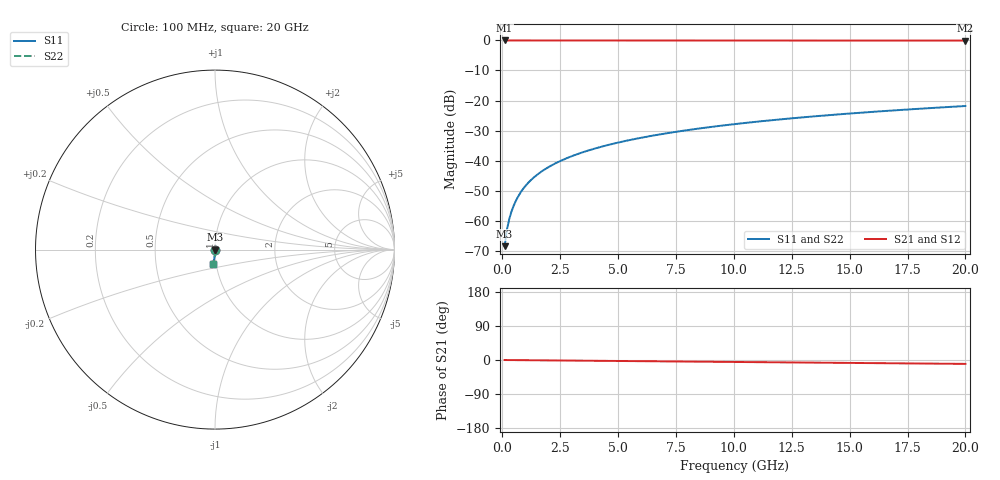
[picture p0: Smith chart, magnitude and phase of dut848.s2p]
! Touchstone file exported from HFSS 2026.1.0
!  File:  C:/ffzhzh/LocalFiles/Ansys_Project_Files/temp_train_TSV_848_1783185079_55132.aedt
!  Generated:  01:12:48 AM Jul  5, 2026
!  Design:  TSV
!  Project:  temp_train_TSV_848_1783185079_55132
! Variables:
!  h_bsmrdl = 2um
!  h_ox = 20um
!  h_rdl = 5um
!  h_sub = 99.63um
!  h_tmrdl = 5um
!  h_tsv = 99.63um
!  h_via = 3um
!  l_bsmrdl = 300um
!  l_sub = 420.48um
!  l_tmrdl = 200um
!  m_sub = 200um
!  pitch = 27.89um
!  r_tsv = 10.24um
!  s_tmrdl = 10um
!  w_bsmrdl = 18um
!  w_sub = 500um
!  w_tmrdl = 12um
!  x_tsv_center1 = 206um
!  x_tsv_center2 = 524um
!  x_tsv_center3 = 736um
!  x_tsv_center4 = 1054um
!  x_tsv_center5 = 1266um
!  x_tsv_center6 = 1584um
# GHz S MA R 50.000000
! Terminal data exported
! Port[1] = TSV1_1_T1
! Port[2] = TSV1_1_T2
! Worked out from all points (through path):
!   200 points, 100 MHz to 20 GHz, reference 50 ohm
!   highest |S21| = 0.00 dB at 100 MHz (marker M1); lowest = 0.0 dB at 20 GHz (marker M2)
!   group delay of S21, straight-line fit = 1.42 ps
!   lowest |S11| = -68.5 dB at 100 MHz (marker M3), VSWR 1.00, Z = 50 - j0.034 ohm
!   |S11| at or under -10 dB: start of sweep to end of sweep
!   |S22| runs from -68.5 to -21.8 dB; largest |S21 - S12| = 4.1e-15
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0.1  0.0003762 -64.6  0.9998 -0.1  0.9998 -0.1  0.0003762 -64.6
! Gamma 0 0 0 0
! Port Impedance 50 0 50 0
0.2  0.0007095 -75.1  0.9998 -0.1  0.9998 -0.1  0.0007095 -75.1
0.3  0.001063 -78.4  0.9998 -0.2  0.9998 -0.2  0.001063 -78.4
0.4  0.00143 -80.0  0.9997 -0.2  0.9997 -0.2  0.00143 -80.0
0.5  0.001809 -81.0  0.9997 -0.3  0.9997 -0.3  0.001809 -81.0
0.7  0.002588 -82.3  0.9996 -0.4  0.9996 -0.4  0.002588 -82.3
0.8  0.002985 -82.9  0.9996 -0.4  0.9996 -0.4  0.002985 -82.9
1  0.003786 -83.8  0.9995 -0.5  0.9995 -0.5  0.003786 -83.8
1.2  0.00459 -84.6  0.9995 -0.6  0.9995 -0.6  0.00459 -84.6
1.4  0.005396 -85.3  0.9995 -0.7  0.9995 -0.7  0.005396 -85.3
1.7  0.006604 -86.0  0.9994 -0.9  0.9994 -0.9  0.006604 -86.0
2  0.007812 -86.7  0.9994 -1.0  0.9994 -1.0  0.007812 -86.7
2.7  0.01063 -87.8  0.9993 -1.4  0.9993 -1.4  0.01063 -87.8
3.5  0.01386 -88.7  0.9991 -1.8  0.9991 -1.8  0.01386 -88.7
4.2  0.0167 -89.3  0.999 -2.2  0.999 -2.2  0.0167 -89.3
5  0.01995 -90.0  0.9989 -2.6  0.9989 -2.6  0.01995 -90.0
6.8  0.02728 -91.2  0.9985 -3.5  0.9985 -3.5  0.02728 -91.2
8.3  0.03341 -92.2  0.9982 -4.3  0.9982 -4.3  0.03341 -92.2
10.1  0.04077 -93.4  0.9978 -5.2  0.9978 -5.2  0.04077 -93.4
13.4  0.05424 -95.3  0.997 -6.9  0.997 -6.9  0.05424 -95.3
16.7  0.06766 -97.1  0.996 -8.6  0.996 -8.6  0.06766 -97.1
20  0.08102 -98.9  0.9948 -10.3  0.9948 -10.3  0.08102 -98.9
